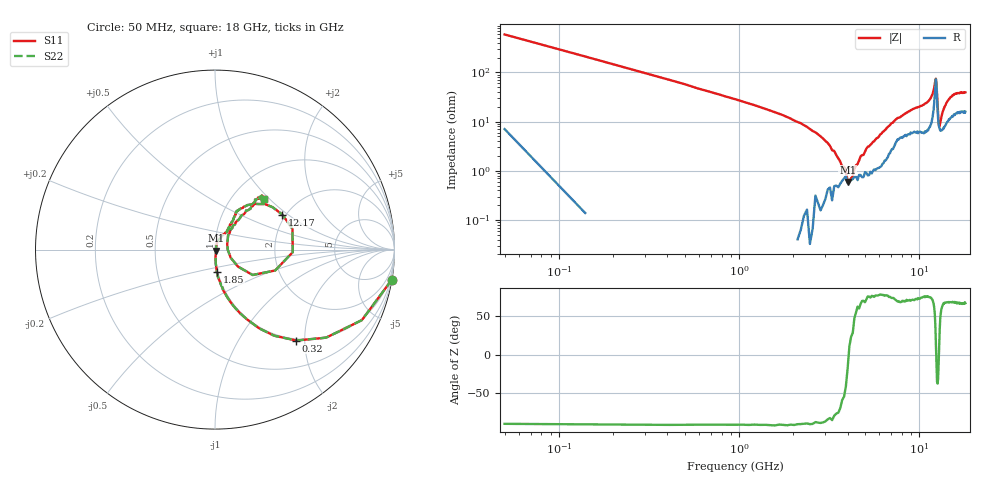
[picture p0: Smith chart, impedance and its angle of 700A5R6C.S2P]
!  American Technical Ceramics  Date:  3/13/98
!  One Norden Lane
!  Huntington Station,  NY.  11746-2102
!  Tel:  (516) 547-5700  Fax:  (516) 547-5748
!  Part Number  700A5R6C
!  Description: Porcelain, High Q, Low ESR
!  Application: Bypass, Coupling, Timing, Feedback
!  Tuning, Impedance Match, Blocking
# GHZ S DB R 50
! Freq  |S11|  S11 Ph  |S21|  S21 Ph  |S12|  S12 Ph  |S22|  S22 Ph
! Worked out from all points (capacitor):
!   201 points, 50 MHz to 18 GHz, reference 50 ohm
!   read as one part in series: C = 5.39 pF near 140 MHz
!   lowest |Z| = 597 mohm at 4 GHz (marker M1)
!   series resonance near 4.055 GHz, so ESL is about 290 pH
!   S11 on the Smith chart (normalised r, x): 50 MHz: -0, -12; 320 MHz: 0.97, -1.82; 1.85 GHz: 0.99, -0.25; 12.17 GHz: 1.92, +0.91; 18 GHz: 1.39, +0.93
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0.05  0.00 -9.6  -15.47 79.6  -15.47 79.6  0.00 -9.6
0.14  -0.84 -25.6  -7.36 64.3  -7.36 64.3  -0.84 -25.6
0.32  -3.36 -48.2  -2.61 42.2  -2.61 42.2  -3.36 -48.2
0.77  -9.38 -71.2  -0.55 19.8  -0.55 19.8  -9.38 -71.2
1.85  -18.08 -85.4  -0.07 7.0  -0.07 7.0  -18.08 -85.4
3.1  -28.74 -84.7  -0.06 2.1  -0.06 2.1  -28.74 -84.7
3.91  -38.22 -58.5  -0.08 0.2  -0.08 0.2  -38.22 -58.5
4  -41.07 -51.0  -0.05 -0.2  -0.05 -0.2  -41.07 -51.0
4.36  -44.56 16.4  -0.08 -0.8  -0.08 -0.8  -44.56 16.4
5.08  -35.62 67.8  -0.11 -2.2  -0.11 -2.2  -35.62 67.8
6.06  -28.00 72.4  -0.13 -3.9  -0.13 -3.9  -28.00 72.4
7.59  -18.73 57.1  -0.33 -6.2  -0.33 -6.2  -18.73 57.1
9.03  -14.69 58.3  -0.42 -7.7  -0.42 -7.7  -14.69 58.3
11.27  -11.33 57.7  -0.59 -11.9  -0.59 -11.9  -11.33 57.7
12.08  -7.99 36.3  -1.83 -19.7  -1.83 -19.7  -7.99 36.3
12.17  -7.47 27.4  -2.55 -21.0  -2.55 -21.0  -7.47 27.4
12.35  -7.26 -1.9  -4.71 -10.0  -4.71 -10.0  -7.26 -1.9
12.44  -9.00 -19.2  -4.28 2.9  -4.28 2.9  -9.00 -19.2
12.79  -22.91 -1.5  -0.85 1.8  -0.85 1.8  -22.91 -1.5
13.51  -14.87 51.5  -0.43 -6.8  -0.43 -6.8  -14.87 51.5
15.04  -9.53 50.5  -0.87 -11.9  -0.87 -11.9  -9.53 50.5
18  -8.10 46.2  -1.11 -14.4  -1.11 -14.4  -8.10 46.2
